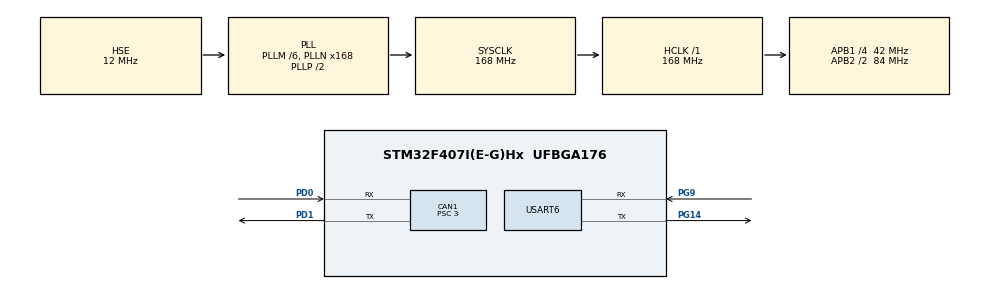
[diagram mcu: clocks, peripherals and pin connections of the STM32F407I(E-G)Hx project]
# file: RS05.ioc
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CAN1.BS1=CAN_BS1_9TQ
CAN1.BS2=CAN_BS2_4TQ
CAN1.ABOM=ENABLE
CAN1.CalculateBaudRate=1000000
CAN1.CalculateTimeBit=1000
CAN1.CalculateTimeQuantum=71.42857142857143
CAN1.Mode=CAN_MODE_NORMAL
CAN1.NART=DISABLE
CAN1.Prescaler=3
Mcu.Family=STM32F4
Mcu.Name=STM32F407I(E-G)Hx
Mcu.Package=UFBGA176
NVIC.CAN1_RX0_IRQn=true\:5\:0\:true\:false\:true\:true\:true\:true
NVIC.CAN1_SCE_IRQn=true\:5\:0\:true\:false\:true\:true\:true\:true
NVIC.PriorityGroup=NVIC_PRIORITYGROUP_4
PA13.Mode=Serial_Wire
PA13.Signal=SYS_JTMS-SWDIO
PA14.Mode=Serial_Wire
PA14.Signal=SYS_JTCK-SWCLK
PD0.Mode=CAN_Activate
PD0.Signal=CAN1_RX
PD1.Mode=CAN_Activate
PD1.Signal=CAN1_TX
PG14.Mode=Asynchronous
PG14.Signal=USART6_TX
PG9.Mode=Asynchronous
PG9.Signal=USART6_RX
PH0-OSC_IN.Mode=HSE-External-Oscillator
PH0-OSC_IN.Signal=RCC_OSC_IN
PH1-OSC_OUT.Mode=HSE-External-Oscillator
PH1-OSC_OUT.Signal=RCC_OSC_OUT
ProjectManager.HeapSize=0x200
ProjectManager.StackSize=0x400
ProjectManager.TargetToolchain=CMake
RCC.48MHZClocksFreq_Value=84000000
RCC.AHBFreq_Value=168000000
RCC.APB1CLKDivider=RCC_HCLK_DIV4
RCC.APB1Freq_Value=42000000
RCC.APB1TimFreq_Value=84000000
RCC.APB2CLKDivider=RCC_HCLK_DIV2
RCC.APB2Freq_Value=84000000
RCC.APB2TimFreq_Value=168000000
RCC.CortexFreq_Value=168000000
RCC.HCLKFreq_Value=168000000
RCC.HSE_VALUE=12000000
RCC.HSI_VALUE=16000000
RCC.LSE_VALUE=32768
RCC.PLLM=6
RCC.PLLN=168
RCC.PLLSourceVirtual=RCC_PLLSOURCE_HSE
RCC.SYSCLKFreq_VALUE=168000000
RCC.SYSCLKSource=RCC_SYSCLKSOURCE_PLLCLK
RCC.VCOOutputFreq_Value=336000000
USART6.VirtualMode=VM_ASYNC
board=custom

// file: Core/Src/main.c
/* USER CODE BEGIN Header */
/**
  ******************************************************************************
  * @file           : main.c
  * @brief          : Main program body
  ******************************************************************************
  * @attention
  *
  * Copyright (c) 2026 STMicroelectronics.
  * All rights reserved.
  *
  * This software is licensed under terms that can be found in the LICENSE file
  * in the root directory of this software component.
  * If no LICENSE file comes with this software, it is provided AS-IS.
  *
  ******************************************************************************
  */
/* USER CODE END Header */
#include "main.h"

/* USER CODE BEGIN Includes */
#include "RS05_app.h"
#include "RS05_Command.h"
#include "RS05_receive.h"
/* USER CODE END Includes */

/* USER CODE BEGIN PD */
#define RS05_MIT_TEST_AMPLITUDE_RAD     0.3f
#define RS05_MIT_TEST_KP                5.0f
#define RS05_MIT_TEST_KD                0.3f
#define RS05_MIT_TEST_PERIOD_MS         10U
#define RS05_MIT_TEST_SWITCH_MS         2000U
#define RS05_MIT_FEEDBACK_TIMEOUT_MS    100U
#define RS05_PRIVATE_COMM_SET_PROTOCOL  0x19U
#define RS05_PROTOCOL_MIT               2U
#define RS05_TEST_STAGE_INIT             0U
#define RS05_TEST_STAGE_NEED_POWER_CYCLE 1U
#define RS05_TEST_STAGE_RUNNING          2U
/* USER CODE END PD */

CAN_HandleTypeDef hcan1;

UART_HandleTypeDef huart6;

/* USER CODE BEGIN PV */
static RS05_ManagerTypedef RS05_Manager;
static RS05_MIT_ManagerTypedef RS05_MIT_Manager;
static RS05_MotorTypedef RS05_Motor1 = {
  .motor_id = RS05_MOTOR_ID,
};
static RS05_MIT_MotorTypedef RS05_MIT_Motor1 = {
  .motor_id = RS05_MOTOR_ID,
};
static volatile HAL_StatusTypeDef RS05_LastStatus = HAL_OK;
static float RS05_StartPositionRad;
static float RS05_TargetPositionRad;
static int8_t RS05_TestDirection = 1;
static uint32_t RS05_LastSwitchTick;
static volatile uint8_t RS05_TestStage = RS05_TEST_STAGE_INIT;
/* USER CODE END PV */

void SystemClock_Config(void);
static void MX_GPIO_Init(void);
static void MX_CAN1_Init(void);
static void MX_USART6_UART_Init(void);

/* USER CODE BEGIN 0 */
static HAL_StatusTypeDef RS05_RequestMITProtocol(void)
{
  const uint8_t data[8] = {
    0x01U, 0x02U, 0x03U, 0x04U,
    0x05U, 0x06U, RS05_PROTOCOL_MIT, 0x00U
  };

  return RS05_SendData(&hcan1,
                       RS05_PRIVATE_COMM_SET_PROTOCOL,
                       data,
                       RS05_Manager.master_id,
                       RS05_MOTOR_ID);
}

static uint8_t RS05_WaitMITFeedback(uint32_t timeout_ms)
{
  uint32_t start = HAL_GetTick();

  while ((RS05_MIT_Motor1.last_feedback_tick == 0U) &&
         ((HAL_GetTick() - start) < timeout_ms))
  {
  }
  return (uint8_t)(RS05_MIT_Motor1.last_feedback_tick != 0U);
}
/* USER CODE END 0 */

int main(void)
{

  /* MCU Configuration--------------------------------------------------------*/

  /* Reset of all peripherals, Initializes the Flash interface and the Systick. */
  HAL_Init();

  /* Configure the system clock */
  SystemClock_Config();

  /* Initialize all configured peripherals */
  MX_GPIO_Init();
  MX_CAN1_Init();
  MX_USART6_UART_Init();
  /* USER CODE BEGIN 2 */
  RS05_Manager_Init(&RS05_Manager, &hcan1, RS05_MASTER_ID);
  RS05_MIT_Manager_Init(&RS05_MIT_Manager, &hcan1, RS05_MASTER_ID);
  RS05_LastStatus = RS05_Manager_RegisterMotor(&RS05_Manager,
                                                &RS05_Motor1);
  if (RS05_LastStatus != HAL_OK)
  {
    Error_Handler();
  }

  RS05_LastStatus = RS05_MIT_Manager_RegisterMotor(&RS05_MIT_Manager,
                                                    &RS05_MIT_Motor1);
  if (RS05_LastStatus != HAL_OK)
  {
    Error_Handler();
  }

  RS05_LastStatus = CAN_Init(&hcan1);
  if (RS05_LastStatus != HAL_OK)
  {
    Error_Handler();
  }

  HAL_Delay(1000U);

  RS05_MIT_Motor1.last_feedback_tick = 0U;
  RS05_LastStatus = RS05_MIT_Stop(&RS05_MIT_Manager, RS05_MOTOR_ID);
  if (RS05_LastStatus != HAL_OK)
  {
    Error_Handler();
  }

  if (RS05_WaitMITFeedback(RS05_MIT_FEEDBACK_TIMEOUT_MS) == 0U)
  {
    RS05_LastStatus = RS05_RequestMITProtocol();
    if (RS05_LastStatus != HAL_OK)
    {
      Error_Handler();
    }

    RS05_TestStage = RS05_TEST_STAGE_NEED_POWER_CYCLE;
    while (1)
    {
      HAL_Delay(100U);
    }
  }

  RS05_LastStatus = RS05_MIT_SetRunMode(&RS05_MIT_Manager,
                                        RS05_MOTOR_ID,
                                        RS05_MIT_RUN_MODE_MIT);
  if (RS05_LastStatus != HAL_OK)
  {
    Error_Handler();
  }
  HAL_Delay(20U);

  RS05_LastStatus = RS05_MIT_Enable(&RS05_MIT_Manager, RS05_MOTOR_ID);
  if (RS05_LastStatus != HAL_OK)
  {
    Error_Handler();
  }

  RS05_StartPositionRad = RS05_MIT_Motor1.position_rad;
  RS05_TargetPositionRad = RS05_StartPositionRad;
  RS05_LastSwitchTick = HAL_GetTick();
  RS05_TestStage = RS05_TEST_STAGE_RUNNING;

/* USER CODE END 2 */

  /* Infinite loop */
  /* USER CODE BEGIN WHILE */
  while (1)
  {
    uint32_t now = HAL_GetTick();

    if ((now - RS05_MIT_Motor1.last_feedback_tick) >
        RS05_MIT_FEEDBACK_TIMEOUT_MS)
    {
      (void)RS05_MIT_Stop(&RS05_MIT_Manager, RS05_MOTOR_ID);
      Error_Handler();
    }

    if ((now - RS05_LastSwitchTick) >= RS05_MIT_TEST_SWITCH_MS)
    {
      RS05_TargetPositionRad = RS05_StartPositionRad +
          (float)RS05_TestDirection * RS05_MIT_TEST_AMPLITUDE_RAD;
      if (RS05_TargetPositionRad > RS05_MIT_POSITION_MAX_RAD)
      {
        RS05_TargetPositionRad = RS05_MIT_POSITION_MAX_RAD;
      }
      else if (RS05_TargetPositionRad < RS05_MIT_POSITION_MIN_RAD)
      {
        RS05_TargetPositionRad = RS05_MIT_POSITION_MIN_RAD;
      }
      RS05_TestDirection = (int8_t)-RS05_TestDirection;
      RS05_LastSwitchTick = now;
    }

    RS05_LastStatus = RS05_MIT_Control(&RS05_MIT_Manager,
                                       RS05_MOTOR_ID,
                                       RS05_TargetPositionRad,
                                       0.0f,
                                       RS05_MIT_TEST_KP,
                                       RS05_MIT_TEST_KD,
                                       0.0f);
    if (RS05_LastStatus == HAL_ERROR)
    {
      (void)RS05_MIT_Stop(&RS05_MIT_Manager, RS05_MOTOR_ID);
      Error_Handler();
    }

    HAL_Delay(RS05_MIT_TEST_PERIOD_MS);
    /* USER CODE END WHILE */
  }
}

/**+
  * @brief System Clock Configuration
  * @retval None
  */
void SystemClock_Config(void)
{
  RCC_OscInitTypeDef RCC_OscInitStruct = {0};
  RCC_ClkInitTypeDef RCC_ClkInitStruct = {0};

  /** Configure the main internal regulator output voltage
  */
  __HAL_RCC_PWR_CLK_ENABLE();
  __HAL_PWR_VOLTAGESCALING_CONFIG(PWR_REGULATOR_VOLTAGE_SCALE1);

  /** Initializes the RCC Oscillators according to the specified parameters
  * in the RCC_OscInitTypeDef structure.
  */
  RCC_OscInitStruct.OscillatorType = RCC_OSCILLATORTYPE_HSE;
  RCC_OscInitStruct.HSEState = RCC_HSE_ON;
  RCC_OscInitStruct.PLL.PLLState = RCC_PLL_ON;
  RCC_OscInitStruct.PLL.PLLSource = RCC_PLLSOURCE_HSE;
  RCC_OscInitStruct.PLL.PLLM = 6;
  RCC_OscInitStruct.PLL.PLLN = 168;
  RCC_OscInitStruct.PLL.PLLP = RCC_PLLP_DIV2;
  RCC_OscInitStruct.PLL.PLLQ = 4;
  if (HAL_RCC_OscConfig(&RCC_OscInitStruct) != HAL_OK)
  {
    Error_Handler();
  }

  /** Initializes the CPU, AHB and APB buses clocks
  */
  RCC_ClkInitStruct.ClockType = RCC_CLOCKTYPE_HCLK|RCC_CLOCKTYPE_SYSCLK
                              |RCC_CLOCKTYPE_PCLK1|RCC_CLOCKTYPE_PCLK2;
  RCC_ClkInitStruct.SYSCLKSource = RCC_SYSCLKSOURCE_PLLCLK;
  RCC_ClkInitStruct.AHBCLKDivider = RCC_SYSCLK_DIV1;
  RCC_ClkInitStruct.APB1CLKDivider = RCC_HCLK_DIV4;
  RCC_ClkInitStruct.APB2CLKDivider = RCC_HCLK_DIV2;

  if (HAL_RCC_ClockConfig(&RCC_ClkInitStruct, FLASH_LATENCY_5) != HAL_OK)
  {
    Error_Handler();
  }
}

static void MX_CAN1_Init(void)
{

  hcan1.Instance = CAN1;
  hcan1.Init.Prescaler = 3;
  hcan1.Init.Mode = CAN_MODE_NORMAL;
  hcan1.Init.SyncJumpWidth = CAN_SJW_1TQ;
  hcan1.Init.TimeSeg1 = CAN_BS1_9TQ;
  hcan1.Init.TimeSeg2 = CAN_BS2_4TQ;
  hcan1.Init.TimeTriggeredMode = DISABLE;
  hcan1.Init.AutoBusOff = ENABLE;
  hcan1.Init.AutoWakeUp = DISABLE;
  hcan1.Init.AutoRetransmission = ENABLE;
  hcan1.Init.ReceiveFifoLocked = DISABLE;
  hcan1.Init.TransmitFifoPriority = DISABLE;
  if (HAL_CAN_Init(&hcan1) != HAL_OK)
  {
    Error_Handler();
  }

}

static void MX_USART6_UART_Init(void)
{

  huart6.Instance = USART6;
  huart6.Init.BaudRate = 115200;
  huart6.Init.WordLength = UART_WORDLENGTH_8B;
  huart6.Init.StopBits = UART_STOPBITS_1;
  huart6.Init.Parity = UART_PARITY_NONE;
  huart6.Init.Mode = UART_MODE_TX_RX;
  huart6.Init.HwFlowCtl = UART_HWCONTROL_NONE;
  huart6.Init.OverSampling = UART_OVERSAMPLING_16;
  if (HAL_UART_Init(&huart6) != HAL_OK)
  {
    Error_Handler();
  }

}

static void MX_GPIO_Init(void)
{

  /* GPIO Ports Clock Enable */
  __HAL_RCC_GPIOB_CLK_ENABLE();
  __HAL_RCC_GPIOG_CLK_ENABLE();
  __HAL_RCC_GPIOA_CLK_ENABLE();
  __HAL_RCC_GPIOH_CLK_ENABLE();

}

/* USER CODE BEGIN 4 */
void HAL_CAN_RxFifo0MsgPendingCallback(CAN_HandleTypeDef *hcan)
{
  if (hcan == RS05_Manager.hcan)
  {
    RS05_ProcessRxFifo0(&RS05_Manager,
                        &RS05_MIT_Manager);
  }
}

/* USER CODE END 4 */

void Error_Handler(void)
{
  __disable_irq();
  while (1)
  {
  }
}
